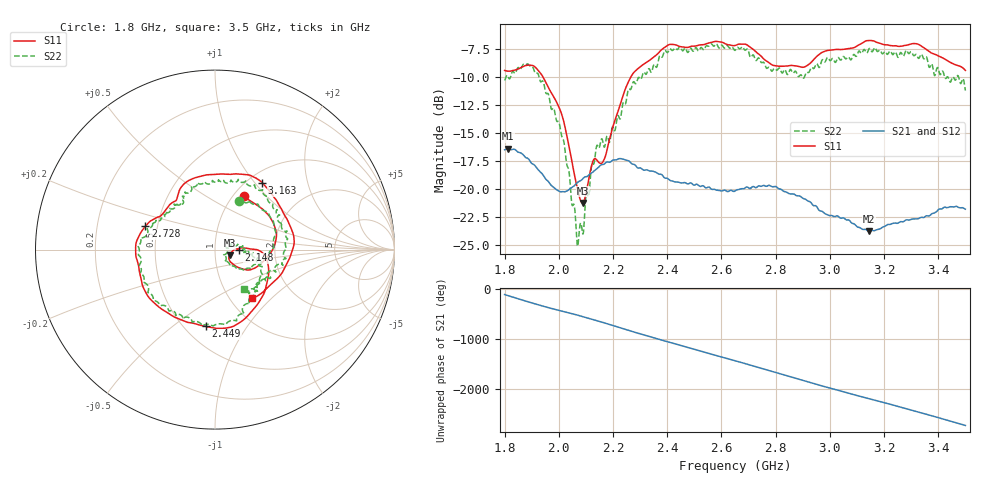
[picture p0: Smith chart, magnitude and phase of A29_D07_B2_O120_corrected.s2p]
! Created with skrf 1.9.0 (http://scikit-rf.org).
# Hz S RI R 50.0
!freq ReS11 ImS11 ReS21 ImS21 ReS12 ImS12 ReS22 ImS22
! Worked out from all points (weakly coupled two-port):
!   1601 points, 1.8 GHz to 3.5 GHz, reference 50 ohm
!   highest |S21| = -16.40 dB at 1.812 GHz (marker M1); lowest = -23.7 dB at 3.144 GHz (marker M2)
!   lowest |S11| = -21.2 dB at 2.088 GHz (marker M3), VSWR 1.19, Z = 58.7 - j3.75 ohm
!   |S11| at or under -10 dB: 1.941 GHz to 2.266 GHz (324.7 MHz wide, 15.4 % of centre)
!   |S22| runs from -25.1 to -7.1 dB; largest |S21 - S12| = 0.0028
!   S11 on the Smith chart (normalised r, x): 1.8 GHz: 1.12, +0.75; 2.148 GHz: 1.30, -0.01; 2.449 GHz: 0.63, -0.67; 2.728 GHz: 0.43, +0.13; 3.163 GHz: 1.16, +1.09; 3.5 GHz: 1.26, -0.76
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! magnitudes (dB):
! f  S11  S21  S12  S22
! 1.8 GHz  -9.4  -16.5  -16.5  -10.3
! 1.812 GHz  -9.5  -16.4  -16.4  -9.9
! 1.882 GHz  -9.0  -17.2  -17.2  -8.9
! 1.942 GHz  -10.0  -18.8  -18.8  -10.4
! 2.011 GHz  -13.4  -20.2  -20.2  -15.4
! 2.067 GHz  -19.8  -19.5  -19.5  -24.7
! 2.084 GHz  -21.2  -19.2  -19.2  -23.3
! 2.088 GHz  -21.2  -19.1  -19.1  -24.0
! 2.126 GHz  -17.5  -18.5  -18.5  -17.8
! 2.148 GHz  -17.6  -18.0  -18.0  -16.3
! 2.188 GHz  -15.5  -17.6  -17.6  -15.8
! 2.265 GHz  -10.0  -17.7  -17.6  -11.1
! 2.367 GHz  -7.9  -18.6  -18.6  -8.5
! 2.449 GHz  -7.3  -19.4  -19.4  -7.4
! 2.65 GHz  -7.2  -20.2  -20.1  -7.6
! 2.728 GHz  -7.8  -19.9  -19.9  -8.5
! 2.934 GHz  -8.6  -21.3  -21.3  -9.2
! 3.144 GHz  -6.8  -23.7  -23.7  -7.5
! 3.163 GHz  -6.8  -23.7  -23.7  -7.5
! 3.217 GHz  -7.2  -23.1  -23.1  -7.8
! 3.344 GHz  -7.4  -22.5  -22.5  -8.3
! 3.5 GHz  -9.4  -21.8  -21.8  -11.2
